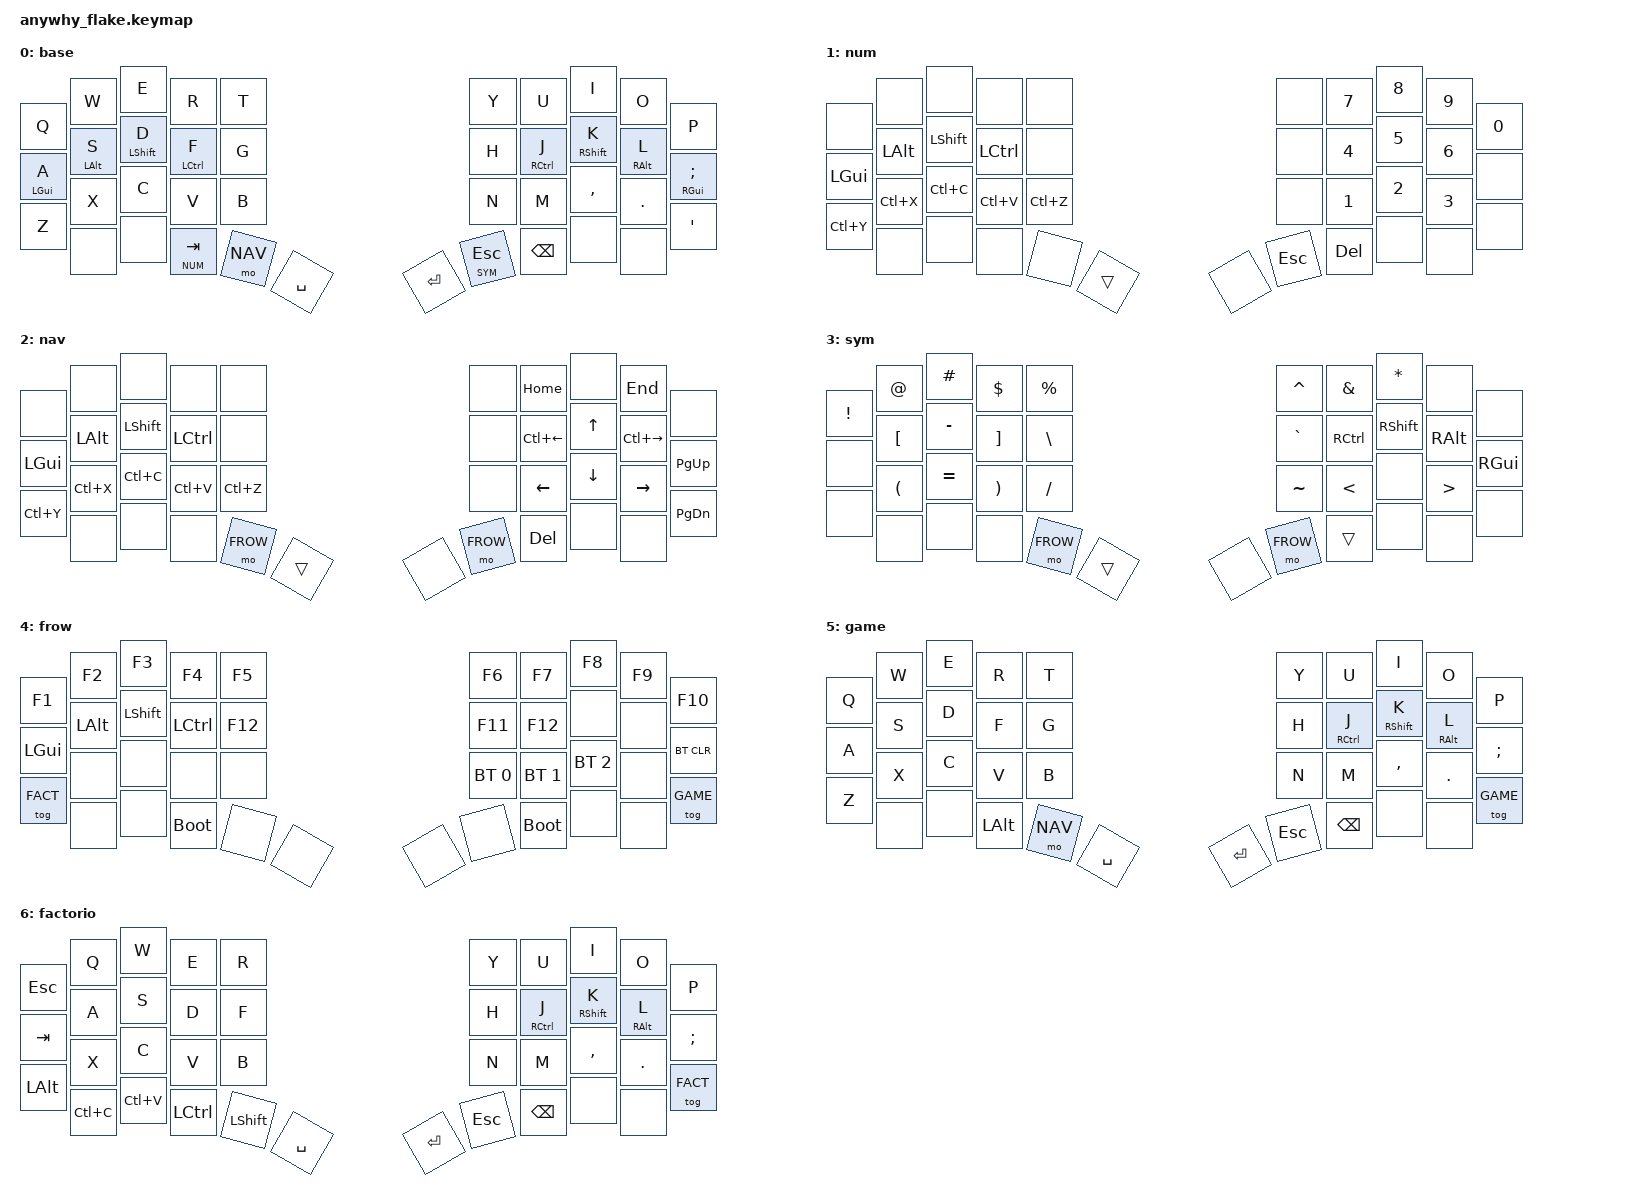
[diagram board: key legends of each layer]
#include <behaviors.dtsi>
#include <dt-bindings/zmk/bt.h>
#include <dt-bindings/zmk/keys.h>

/* activate bluetooth */
#define WIRELESS 1

/* define layout */
#define ALPHA_23332 1
#define MOUSE_KEYS 1

// layers ID definition
#define BASE 0
#define NUM 1
#define NAV 2
#define SYM 3
#define FROW 4
#define GAME 5
#define FACT 6

#define xxx &none
#define ___ &trans

// tapping term definition
#define TAP_TERM_MS 200

// macros definition
#define undo LC(Z) // ctrl + Z
#define redo LC(Y) // ctrl + Y
#define copy LC(C) // ctrl + C
#define paste LC(V) // ctrl + V
#define cut LC(X) // ctrl + X

/ {
    behaviors {
        // HOME ROW MODS
        hm: balanced_homerow_mods {
            compatible = "zmk,behavior-hold-tap";
            #binding-cells = <2>;
            tapping-term-ms = <TAP_TERM_MS>;    // <---[[moderate duration]]
            quick-tap-ms = <0>;
            flavor = "balanced";
            bindings = <&kp>, <&kp>;
        };
    };

    keymap {
        compatible = "zmk,keymap";

        base {
            bindings = <
             //╭──────────────┬──────────────┬──────────────┬──────────────┬──────────────╮     ╭──────────────┬──────────────┬──────────────┬──────────────┬──────────────╮
                  &kp Q          &kp W          &kp E          &kp R          &kp T                &kp Y          &kp U          &kp I          &kp O          &kp P
             //├──────────────┼──────────────┼──────────────┼──────────────┼──────────────┤     ├──────────────┼──────────────┼──────────────┼──────────────┼──────────────┤
                  &hm LGUI A     &hm LALT S     &hm LSHIFT D   &hm LCTRL F    &kp G                &kp H          &hm RCTRL J    &hm RSHIFT K   &hm RALT L     &hm RGUI SEMI
             //├──────────────┼──────────────┼──────────────┼──────────────┼──────────────┤     ├──────────────┼──────────────┼──────────────┼──────────────┼──────────────┤
                  &kp Z          &kp X          &kp C          &kp V          &kp B                &kp N          &kp M          &kp COMMA      &kp DOT        &kp SQT
             //├──────────────┴──────────────┼──────────────┼──────────────┼──────────────┤     ├──────────────┼──────────────┼──────────────┼──────────────┴──────────────┤
                  xxx            xxx            &lt NUM TAB    &mo NAV        &kp SPACE            &kp RET        &lt SYM ESC    &kp BSPC       xxx            xxx
             //╰──────────────┴──────────────┴──────────────┴──────────────┴──────────────╯     ╰──────────────┴──────────────┴──────────────┴──────────────┴──────────────╯
            >;
        };

        num {
            bindings = <
             //╭──────────────┬──────────────┬──────────────┬──────────────┬──────────────╮     ╭──────────────┬──────────────┬──────────────┬──────────────┬──────────────╮
                  xxx            xxx            xxx            xxx            xxx                  xxx            &kp N7         &kp N8         &kp N9        &kp N0
             //├──────────────┼──────────────┼──────────────┼──────────────┼──────────────┤     ├──────────────┼──────────────┼──────────────┼──────────────┼──────────────┤
                  &kp LGUI       &kp LALT       &kp LSHIFT     &kp LCTRL      xxx                  xxx            &kp N4         &kp N5         &kp N6        xxx
             //├──────────────┼──────────────┼──────────────┼──────────────┼──────────────┤     ├──────────────┼──────────────┼──────────────┼──────────────┼──────────────┤
                  &kp redo       &kp cut        &kp copy       &kp paste      &kp undo             xxx            &kp N1         &kp N2         &kp N3        xxx
             //╰──────────────┴──────────────┼──────────────┼──────────────┼──────────────┤     ├──────────────┼──────────────┼──────────────┼──────────────┴──────────────╯
                  xxx            xxx            xxx            xxx            ___                  xxx            &kp ESC        &kp DEL       xxx            xxx
             //╰──────────────┴──────────────┴──────────────┴──────────────┴──────────────╯     ╰──────────────┴──────────────┴──────────────┴──────────────┴──────────────╯
            >;
        };

        nav {
            bindings = <
             //╭──────────────┬──────────────┬──────────────┬──────────────┬──────────────╮     ╭──────────────┬──────────────┬──────────────┬──────────────┬──────────────╮
                  xxx            xxx            xxx            xxx            xxx                  xxx            &kp HOME       xxx            &kp END        xxx
             //├──────────────┼──────────────┼──────────────┼──────────────┼──────────────┤     ├──────────────┼──────────────┼──────────────┼──────────────┼──────────────┤
                  &kp LGUI       &kp LALT       &kp LSHIFT     &kp LCTRL      xxx                  xxx            &kp LC(LEFT)   &kp UP         &kp LC(RIGHT)  &kp PG_UP
             //├──────────────┼──────────────┼──────────────┼──────────────┼──────────────┤     ├──────────────┼──────────────┼──────────────┼──────────────┼──────────────┤
                  &kp redo       &kp cut        &kp copy       &kp paste      &kp undo             xxx            &kp LEFT       &kp DOWN       &kp RIGHT      &kp PG_DN
             //╰──────────────┴──────────────┼──────────────┼──────────────┼──────────────┤     ├──────────────┼──────────────┼──────────────┼──────────────┴──────────────╯
                  xxx            xxx            xxx            &mo FROW       ___                  xxx            &mo FROW       &kp DEL       xxx            xxx
             //╰──────────────┴──────────────┴──────────────┴──────────────┴──────────────╯     ╰──────────────┴──────────────┴──────────────┴──────────────┴──────────────╯
            >;
        };

        sym {
            bindings = <
             //╭──────────────┬──────────────┬──────────────┬──────────────┬──────────────╮     ╭──────────────┬──────────────┬──────────────┬──────────────┬──────────────╮
                  &kp EXCL       &kp AT         &kp HASH       &kp DLLR       &kp PERCENT          &kp CARET      &kp AMPS       &kp ASTRK      xxx            xxx
             //├──────────────┼──────────────┼──────────────┼──────────────┼──────────────┤     ├──────────────┼──────────────┼──────────────┼──────────────┼──────────────┤
                  xxx            &kp LBKT       &kp MINUS      &kp RBKT       &kp BSLH             &kp GRAVE      &kp RCTRL      &kp RSHIFT     &kp RALT       &kp RGUI
             //├──────────────┼──────────────┼──────────────┼──────────────┼──────────────┤     ├──────────────┼──────────────┼──────────────┼──────────────┼──────────────┤
                  xxx            &kp LPAR       &kp EQUAL      &kp RPAR       &kp FSLH             &kp TILDE      &kp LT            xxx         &kp GT         xxx
             //╰──────────────┴──────────────┼──────────────┼──────────────┼──────────────┤     ├──────────────┼──────────────┼──────────────┼──────────────┴──────────────╯
                  xxx            xxx            xxx            &mo FROW       ___                  xxx            &mo FROW          ___         xxx            xxx
             //╰──────────────┴──────────────┴──────────────┴──────────────┴──────────────╯     ╰──────────────┴──────────────┴──────────────┴──────────────┴──────────────╯
            >;
        };

        frow {
            bindings = <
             //╭──────────────┬──────────────┬──────────────┬──────────────┬──────────────╮     ╭──────────────┬──────────────┬──────────────┬──────────────┬──────────────╮
                  &kp F1         &kp F2         &kp F3         &kp F4         &kp F5               &kp F6         &kp F7         &kp F8         &kp F9         &kp F10
             //├──────────────┼──────────────┼──────────────┼──────────────┼──────────────┤     ├──────────────┼──────────────┼──────────────┼──────────────┼──────────────┤
                  &kp LGUI       &kp LALT       &kp LSHIFT     &kp LCTRL      &kp F12              &kp F11        &kp F12        xxx            xxx            &bt BT_CLR
             //├──────────────┼──────────────┼──────────────┼──────────────┼──────────────┤     ├──────────────┼──────────────┼──────────────┼──────────────┼──────────────┤
                  &tog FACT      xxx            xxx            xxx            xxx                  &bt BT_SEL 0   &bt BT_SEL 1   &bt BT_SEL 2   xxx            &tog GAME
             //╰──────────────┴──────────────┼──────────────┼──────────────┼──────────────┤     ├──────────────┼──────────────┼──────────────┼──────────────┴──────────────╯
                  xxx            xxx            &bootloader    xxx            xxx                  xxx            xxx            &bootloader    xxx            xxx
             //╰──────────────┴──────────────┴──────────────┴──────────────┴──────────────╯     ╰──────────────┴──────────────┴──────────────┴──────────────┴──────────────╯
            >;
        };

        game {
            bindings = <
             //╭──────────────┬──────────────┬──────────────┬──────────────┬──────────────╮     ╭──────────────┬──────────────┬──────────────┬──────────────┬──────────────╮
                  &kp Q          &kp W          &kp E          &kp R          &kp T                &kp Y          &kp U          &kp I          &kp O          &kp P
             //├──────────────┼──────────────┼──────────────┼──────────────┼──────────────┤     ├──────────────┼──────────────┼──────────────┼──────────────┼──────────────┤
                  &kp A          &kp S          &kp D          &kp F          &kp G                &kp H          &hm RCTRL J    &hm RSHIFT K   &hm RALT L     &kp SEMI
             //├──────────────┼──────────────┼──────────────┼──────────────┼──────────────┤     ├──────────────┼──────────────┼──────────────┼──────────────┼──────────────┤
                  &kp Z          &kp X          &kp C          &kp V          &kp B                &kp N          &kp M          &kp COMMA      &kp DOT        &tog GAME
             //╰──────────────┴──────────────┼──────────────┼──────────────┼──────────────┤     ├──────────────┼──────────────┼──────────────┼──────────────┴──────────────╯
                  xxx            xxx            &kp LALT       &mo NAV        &kp SPACE            &kp RET        &kp ESC        &kp BSPC       xxx            xxx
             //╰──────────────┴──────────────┴──────────────┴──────────────┴──────────────╯     ╰──────────────┴──────────────┴──────────────┴──────────────┴──────────────╯
            >;
        };

        factorio {
            bindings = <
             //╭──────────────┬──────────────┬──────────────┬──────────────┬──────────────╮     ╭──────────────┬──────────────┬──────────────┬──────────────┬──────────────╮
                  &kp ESC        &kp Q          &kp W          &kp E          &kp R                &kp Y          &kp U          &kp I          &kp O          &kp P
             //├──────────────┼──────────────┼──────────────┼──────────────┼──────────────┤     ├──────────────┼──────────────┼──────────────┼──────────────┼──────────────┤
                  &kp TAB        &kp A          &kp S          &kp D          &kp F                &kp H          &hm RCTRL J    &hm RSHIFT K   &hm RALT L     &kp SEMI
             //├──────────────┼──────────────┼──────────────┼──────────────┼──────────────┤     ├──────────────┼──────────────┼──────────────┼──────────────┼──────────────┤
                  &kp LALT       &kp X          &kp C          &kp V          &kp B                &kp N          &kp M          &kp COMMA      &kp DOT        &tog FACT
             //╰──────────────┴──────────────┼──────────────┼──────────────┼──────────────┤     ├──────────────┼──────────────┼──────────────┼──────────────┴──────────────╯
                  &kp copy       &kp paste      &kp LCTRL      &kp LSHIFT     &kp SPACE            &kp RET        &kp ESC        &kp BSPC       xxx            xxx
             //╰──────────────┴──────────────┴──────────────┴──────────────┴──────────────╯     ╰──────────────┴──────────────┴──────────────┴──────────────┴──────────────╯
            >;
        };
    };
};
